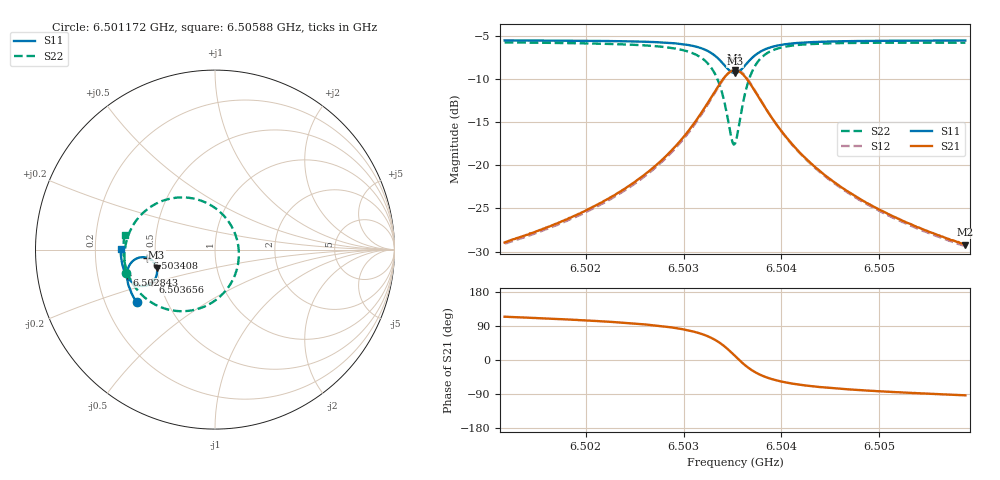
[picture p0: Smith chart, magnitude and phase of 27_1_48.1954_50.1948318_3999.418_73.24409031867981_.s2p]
#  HZ  S  RI  R  50.00
! Rohde & Schwarz Vector Network Analyzer
! Rohde-Schwarz,ZNB20-2Port,1311601062101988,3.16
! Created: UTC 3/20/2024, 11:37:11 AM
! freq[Hz]  re:S11  im:S11  re:S21  im:S21  re:S12  im:S12  re:S22  im:S22
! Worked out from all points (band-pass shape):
!   401 points, 6.501172 GHz to 6.50588 GHz, reference 50 ohm
!   highest |S21| = -9.02 dB at 6.503526 GHz (marker M1); lowest = -29.2 dB at 6.50588 GHz (marker M2)
!   |S21| within 3 dB of the highest: 6.50329 GHz to 6.503761 GHz (470.7 kHz wide, 0.00724 % of centre)
!   lowest |S11| = -9.4 dB at 6.503526 GHz (marker M3), VSWR 2.03, Z = 25 - j5.64 ohm
!   |S11| at or under -10 dB: nowhere
!   |S22| runs from -17.6 to -5.8 dB; largest |S21 - S12| = 0.012
!   S11 on the Smith chart (normalised r, x): 6.501172 GHz: 0.34, -0.27; 6.502843 GHz: 0.33, -0.12; 6.503408 GHz: 0.45, -0.05; 6.503656 GHz: 0.46, -0.20; 6.50588 GHz: 0.31, +0.00
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6.5011718e9  -0.4362 -0.2946  -0.0146 0.0326  -0.013 0.0327  -0.4954 -0.1328
6.5019605e9  -0.4686 -0.2344  -0.0137 0.0515  -0.0112 0.0508  -0.5046 -0.0448
6.5023843e9  -0.4828 -0.1953  -0.0106 0.0714  -0.00736 0.0701  -0.4994 0.0189
6.5027492e9  -0.4904 -0.1529  -0.000196 0.1033  0.00351 0.1008  -0.4761 0.0976
6.5028434e9  -0.4908 -0.1394  0.0058 0.1159  0.00953 0.1128  -0.4629 0.1243
6.5030435e9  -0.4848 -0.1048  0.0309 0.1529  0.0346 0.148  -0.4105 0.1953
6.5031847e9  -0.4682 -0.0742  0.0729 0.188  0.0756 0.1818  -0.3295 0.2554
6.5033142e9  -0.4304 -0.0472  0.1538 0.2143  0.1544 0.2077  -0.1821 0.2909
6.5034084e9  -0.3816 -0.045  0.2492 0.1959  0.2493 0.1912  -0.0169 0.2435
6.5034908e9  -0.3369 -0.0764  0.3301 0.1169  0.333 0.1126  0.1123 0.0873
6.5035261e9  -0.3258 -0.0998  0.348 0.0656  0.352 0.06  0.1327 -0.00919
6.5035497e9  -0.3227 -0.1169  0.3512 0.0293  0.3556 0.0223  0.1293 -0.0757
6.503585e9  -0.3252 -0.1422  0.3429 -0.0228  0.3468 -0.0323  0.0994 -0.1688
6.5036556e9  -0.3487 -0.1811  0.2933 -0.1019  0.2931 -0.1142  -0.0177 -0.2962
6.5037498e9  -0.3913 -0.2015  0.2112 -0.1462  0.206 -0.1568  -0.185 -0.3432
6.5038204e9  -0.4183 -0.2016  0.1617 -0.1511  0.1545 -0.1595  -0.2775 -0.3295
6.5039028e9  -0.4422 -0.1942  0.1195 -0.1447  0.1119 -0.1504  -0.3514 -0.2961
6.5040676e9  -0.4722 -0.1731  0.0698 -0.1226  0.0629 -0.125  -0.432 -0.2259
6.5043148e9  -0.4951 -0.1418  0.0358 -0.0945  0.0306 -0.0949  -0.4808 -0.1458
6.5046798e9  -0.5113 -0.1022  0.0154 -0.0688  0.0119 -0.0682  -0.5045 -0.0668
6.5051035e9  -0.5206 -0.062  0.00557 -0.0515  0.00298 -0.0508  -0.5107 -0.00324
6.5058805e9  -0.526 0.00472  -0.00196 -0.0346  -0.00347 -0.0338  -0.5039 0.083
